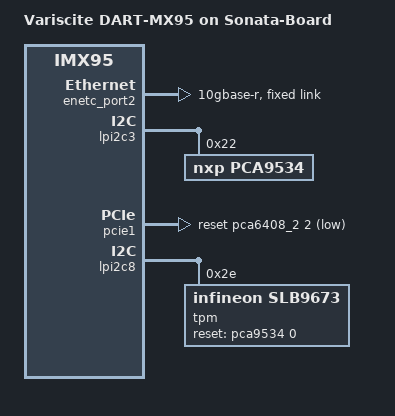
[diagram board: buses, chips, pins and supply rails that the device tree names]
// SPDX-License-Identifier: (GPL-2.0+ OR MIT)
/*
 * Copyright 2023 NXP
 * Copyright 2024-2025 Variscite Ltd.
 */

#include "imx95-var-dart-dt8mcustomboard.dts"

/ {
	model = "Variscite DART-MX95 on Sonata-Board";

	aliases {
		ethernet2 = &enetc_port2;
	};

	sfp_eth2:sfp-eth2 {
		compatible = "sff,sfp";
		i2c-bus = <&lpi2c3>;
		tx-disable-gpios = <&pca9534 4 GPIO_ACTIVE_HIGH>;
		tx-fault-gpios = <&pca9534 0 GPIO_ACTIVE_HIGH>;
		los-gpios = <&pca9534 1 GPIO_ACTIVE_HIGH>;
		maximum-power-milliwatt = <2000>;
		status = "disabled";
	};
};

&enetc_port2 {
	phy-mode = "10gbase-r";
	status = "okay";
	//sfp = <&sfp_eth2>;

	fixed-link {
		speed = <10000>;
		full-duplex;
		link-gpios = <&pca9534 1 GPIO_ACTIVE_LOW>;
	};
};

&lpi2c3 {
	pca9534: gpio@22 {
		compatible = "nxp,pca9534";
		reg = <0x22>;
		gpio-controller;
		#gpio-cells = <2>;

		pcie2-sel {
			gpio-hog;
			gpios = <6 GPIO_ACTIVE_HIGH>;
			output-low;
			line-name = "pcie-clk-sw";
		};

		sfp-sel {
			gpio-hog;
			gpios = <5 GPIO_ACTIVE_HIGH>;
			output-high;
			line-name = "sfp-sw";
		};
	};
};

&pcie0 {
	/delete-node/ pinctrl-0;
	/delete-node/ pinctrl-names;
};

&pcie1 {
	fsl,refclk-pad-mode = <IMX8_PCIE_REFCLK_PAD_INPUT>;
	reset-gpio = <&pca6408_2 2 GPIO_ACTIVE_LOW>;
	status = "okay";
};

&pinctrl_enetc1 {
	fsl,pins = <
		IMX95_PAD_ENET2_TXC__NETCMIX_TOP_ETH1_RGMII_TX_CLK		0x57e
		IMX95_PAD_ENET2_TX_CTL__NETCMIX_TOP_ETH1_RGMII_TX_CTL		0x57e
		IMX95_PAD_ENET2_TD3__NETCMIX_TOP_ETH1_RGMII_TD3			0x57e
		IMX95_PAD_ENET2_TD2__NETCMIX_TOP_ETH1_RGMII_TD2			0x57e
		IMX95_PAD_ENET2_TD1__NETCMIX_TOP_ETH1_RGMII_TD1			0x57e
		IMX95_PAD_ENET2_TD0__NETCMIX_TOP_ETH1_RGMII_TD0			0x57e
		IMX95_PAD_ENET2_RXC__NETCMIX_TOP_ETH1_RGMII_RX_CLK		0x57e
		IMX95_PAD_ENET2_RX_CTL__NETCMIX_TOP_ETH1_RGMII_RX_CTL		0x57e
		IMX95_PAD_ENET2_RD0__NETCMIX_TOP_ETH1_RGMII_RD0			0x57e
		IMX95_PAD_ENET2_RD1__NETCMIX_TOP_ETH1_RGMII_RD1			0x57e
		IMX95_PAD_ENET2_RD2__NETCMIX_TOP_ETH1_RGMII_RD2			0x57e
		IMX95_PAD_ENET2_RD3__NETCMIX_TOP_ETH1_RGMII_RD3			0x37e /* Enable pull-up to strap MXL86110 MDIO address */
	>;
};

&lpi2c8 {
	st33ktpm2xi2c: st33ktpm2xi2c@2e {
		compatible = "infineon,slb9673", "tcg,tpm-tis-i2c";
		reg = <0x2e>;
		label = "tpm";
		reset-gpios = <&pca9534 0 GPIO_ACTIVE_HIGH>;
	};
};
